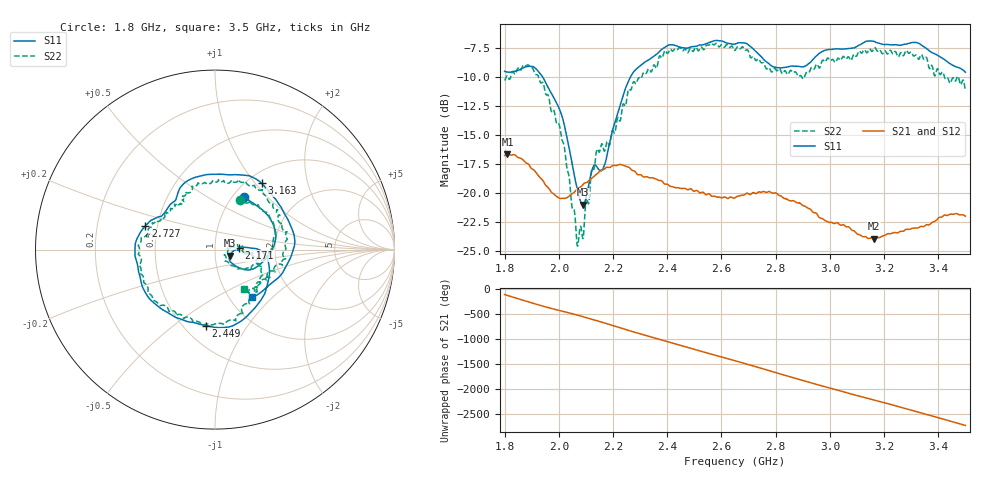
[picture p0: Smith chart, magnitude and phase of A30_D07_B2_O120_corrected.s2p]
! Created with skrf 1.9.0 (http://scikit-rf.org).
# Hz S RI R 50.0
!freq ReS11 ImS11 ReS21 ImS21 ReS12 ImS12 ReS22 ImS22
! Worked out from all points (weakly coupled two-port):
!   1601 points, 1.8 GHz to 3.5 GHz, reference 50 ohm
!   highest |S21| = -16.64 dB at 1.811 GHz (marker M1); lowest = -23.9 dB at 3.162 GHz (marker M2)
!   lowest |S11| = -21.0 dB at 2.089 GHz (marker M3), VSWR 1.20, Z = 58.8 - j4.04 ohm
!   |S11| at or under -10 dB: 1.941 GHz to 2.264 GHz (322.2 MHz wide, 15.3 % of centre)
!   |S22| runs from -24.6 to -7.1 dB; largest |S21 - S12| = 0.0029
!   S11 on the Smith chart (normalised r, x): 1.8 GHz: 1.13, +0.75; 2.171 GHz: 1.31, +0.03; 2.449 GHz: 0.64, -0.66; 2.727 GHz: 0.43, +0.14; 3.163 GHz: 1.16, +1.08; 3.5 GHz: 1.27, -0.75
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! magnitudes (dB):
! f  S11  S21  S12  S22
! 1.8 GHz  -9.5  -16.7  -16.7  -10.3
! 1.811 GHz  -9.5  -16.6  -16.6  -9.9
! 1.886 GHz  -9.1  -17.5  -17.5  -8.9
! 1.941 GHz  -10.0  -18.9  -18.9  -10.4
! 2.011 GHz  -13.3  -20.4  -20.4  -15.4
! 2.066 GHz  -19.4  -19.7  -19.7  -24.0
! 2.084 GHz  -20.9  -19.4  -19.4  -23.2
! 2.089 GHz  -21.0  -19.3  -19.3  -23.9
! 2.138 GHz  -17.6  -18.4  -18.4  -16.5
! 2.171 GHz  -17.4  -17.9  -17.9  -16.3
! 2.26 GHz  -10.2  -17.8  -17.8  -11.0
! 2.367 GHz  -7.9  -18.9  -18.8  -8.5
! 2.449 GHz  -7.4  -19.6  -19.6  -7.5
! 2.65 GHz  -7.1  -20.4  -20.4  -7.7
! 2.727 GHz  -7.7  -20.0  -20.0  -8.5
! 2.802 GHz  -9.1  -20.0  -20.0  -9.4
! 2.934 GHz  -8.6  -21.5  -21.5  -9.1
! 3.162 GHz  -6.9  -23.9  -23.9  -7.5
! 3.163 GHz  -6.9  -23.9  -23.9  -7.5
! 3.217 GHz  -7.2  -23.5  -23.5  -7.8
! 3.324 GHz  -7.0  -23.0  -23.0  -8.3
! 3.5 GHz  -9.6  -22.0  -22.0  -11.2
